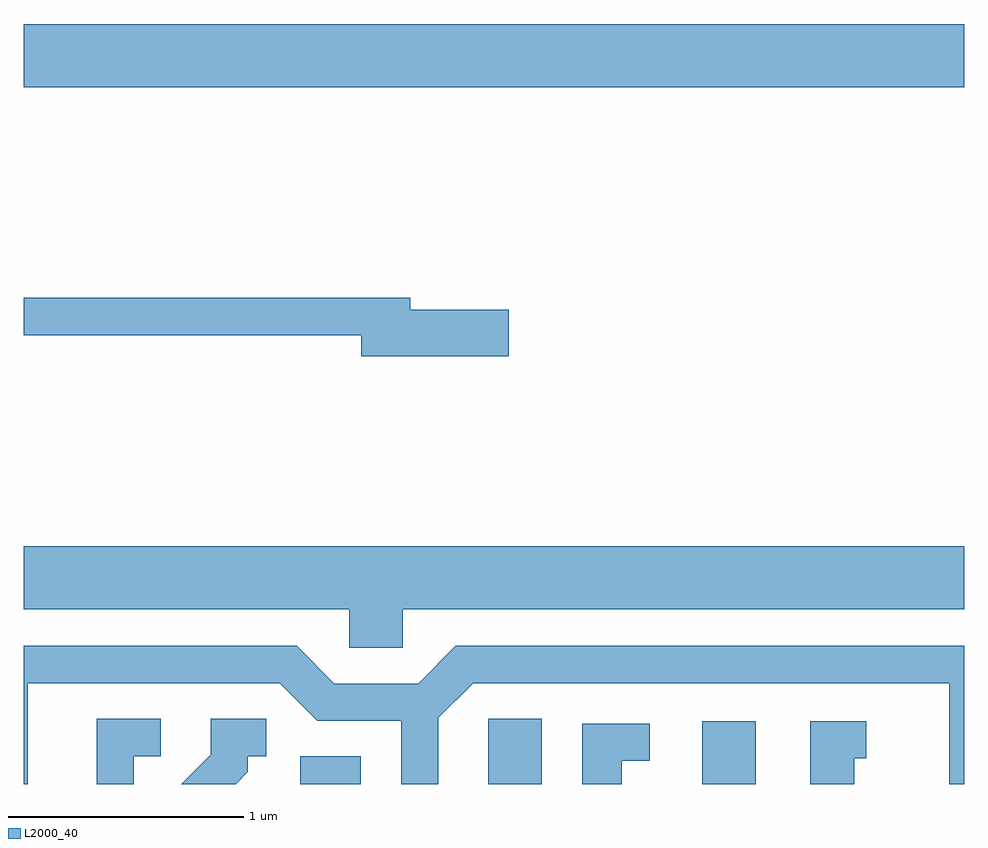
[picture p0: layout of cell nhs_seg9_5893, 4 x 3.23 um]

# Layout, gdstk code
import gdstk
lib = gdstk.Library(unit=1e-6, precision=1e-09)
def R(c, l, rs):  # rectangles x0, y0, x1, y1
    for r in rs: c.add(gdstk.rectangle(r[:2], r[2:], *l))
def P(c, l, *ps):  # polygons
    for p in ps: c.add(gdstk.Polygon(p, *l))
L2000_40 = (2000, 40)

nhs_seg9_5893 = lib.new_cell('nhs_seg9_5893')
R(nhs_seg9_5893, L2000_40, [(360.786,1964.432,361.044,1964.549), (361.586,1964.432,361.814,1964.709), (362.496,1964.432,362.724,1964.699), (359.611,1967.396,363.611,1967.664)])
P(nhs_seg9_5893, L2000_40, [(361.674,1966.449),(361.254,1966.449),(361.254,1966.499),(359.611,1966.499),(359.611,1966.341),(361.046,1966.341),(361.046,1966.251),(361.674,1966.251)],
  [(361.224,1965.176),(363.611,1965.176),(363.611,1965.444),(359.611,1965.444),(359.611,1965.176),(360.996,1965.176),(360.996,1965.011),(361.224,1965.011)],
  [(359.629,1964.861),(360.699,1964.861),(360.859,1964.701),(361.216,1964.701),(361.216,1964.432),(361.374,1964.432),(361.374,1964.714),(361.522,1964.861),(363.546,1964.861),(363.546,1964.432),(363.611,1964.432),(363.611,1965.019),(361.449,1965.019),(361.289,1964.859),(360.932,1964.859),(360.772,1965.019),(359.611,1965.019),(359.611,1964.432),(359.629,1964.432)],
  [(360.564,1964.484),(360.564,1964.551),(360.643,1964.551),(360.643,1964.709),(360.406,1964.709),(360.406,1964.557),(360.282,1964.432),(360.512,1964.432)],
  [(360.079,1964.551),(360.193,1964.551),(360.193,1964.709),(359.921,1964.709),(359.921,1964.432),(360.079,1964.432)],
  [(363.144,1964.541),(363.193,1964.541),(363.193,1964.699),(362.956,1964.699),(362.956,1964.432),(363.144,1964.432)],
  [(362.154,1964.531),(362.273,1964.531),(362.273,1964.689),(361.986,1964.689),(361.986,1964.432),(362.154,1964.432)])

lib.write_gds('nhs_seg9_5893.gds')
